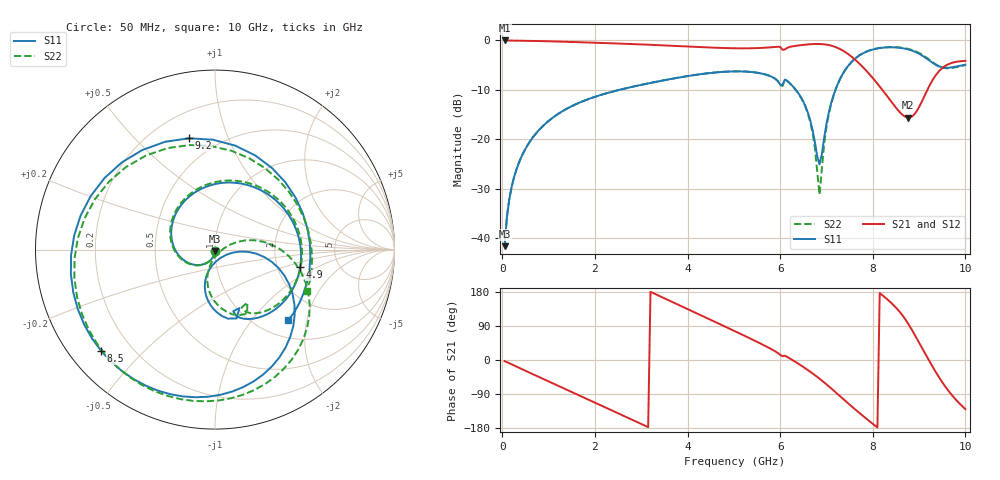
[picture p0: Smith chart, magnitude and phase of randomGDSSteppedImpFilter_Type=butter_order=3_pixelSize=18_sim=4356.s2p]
! freq	dB(S11)	phase(S11)	dB(S12)	phase(S12)
!  dB(S21)	phase(S21)	dB(S22)	phase(S22)
!S-par simulation data
#  GHz  S  DB  R 50
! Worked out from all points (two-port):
!   200 points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, 50 MHz to 10 GHz, reference 50 ohm
!   highest |S21| = 0.00 dB at 50 MHz (marker M1); lowest = -15.6 dB at 8.75 GHz (marker M2)
!   |S21| within 3 dB of the highest: start of sweep to 7.504 GHz
!   lowest |S11| = -41.6 dB at 50 MHz (marker M3), VSWR 1.02, Z = 50 - j0.826 ohm
!   |S11| at or under -10 dB: start of sweep to 2.53 GHz; 6.338 GHz to 7.193 GHz (855 MHz wide, 12.6 % of centre)
!   |S22| runs from -41.6 to -1.3 dB; largest |S21 - S12| = 0
!   S11 on the Smith chart (normalised r, x): 50 MHz: 1.00, -0.02; 4.9 GHz: 2.68, -0.69; 8.5 GHz: 0.09, -0.38; 9.2 GHz: 0.35, +0.73; 10 GHz: 1.34, -1.56
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0.05  -41.64 -92.1  -0.00 -2.9  -0.00 -2.9  -41.64 -92.0
0.2  -29.74 -101.3  -0.02 -11.4  -0.02 -11.4  -29.74 -101.0
0.5  -21.94 -119.3  -0.07 -28.4  -0.07 -28.4  -21.94 -118.5
1.75  -12.26 168.9  -0.38 -98.5  -0.38 -98.5  -12.27 172.1
2.65  -9.73 117.2  -0.68 -149.0  -0.68 -149.0  -9.73 122.9
3.4  -8.23 73.8  -0.97 168.6  -0.97 168.6  -8.23 81.8
4.2  -6.93 27.9  -1.32 123.0  -1.32 123.0  -6.93 37.5
4.9  -6.29 -11.7  -1.57 83.1  -1.57 83.1  -6.29 -1.6
5.05  -6.26 -20.1  -1.59 74.4  -1.59 74.4  -6.25 -10.1
6.15  -8.15 -79.4  -1.50 8.4  -1.50 8.4  -8.19 -70.5
6.7  -18.11 -106.8  -0.73 -35.4  -0.73 -35.4  -18.69 -107.7
6.85  -25.08 -54.9  -0.72 -49.3  -0.72 -49.3  -31.22 -43.5
7  -16.90 -4.3  -0.85 -64.2  -0.85 -64.2  -17.48 19.0
7.3  -7.67 -20.6  -1.78 -96.2  -1.78 -96.2  -7.71 -4.9
7.75  -2.81 -64.0  -5.05 -143.7  -5.05 -143.7  -2.79 -50.3
8.35  -1.39 -122.0  -11.77 156.1  -11.77 156.1  -1.34 -108.1
8.5  -1.42 -138.3  -13.61 138.2  -13.61 138.2  -1.36 -123.8
8.75  -1.78 -170.3  -15.61 98.7  -15.61 98.7  -1.68 -154.1
9  -2.69 147.1  -13.48 45.8  -13.48 45.8  -2.53 166.6
9.2  -3.92 103.1  -9.61 1.9  -9.61 1.9  -3.74 126.2
9.55  -5.52 22.5  -5.25 -67.5  -5.25 -67.5  -5.59 47.8
10  -4.91 -43.9  -4.13 -129.6  -4.13 -129.6  -5.00 -24.4
